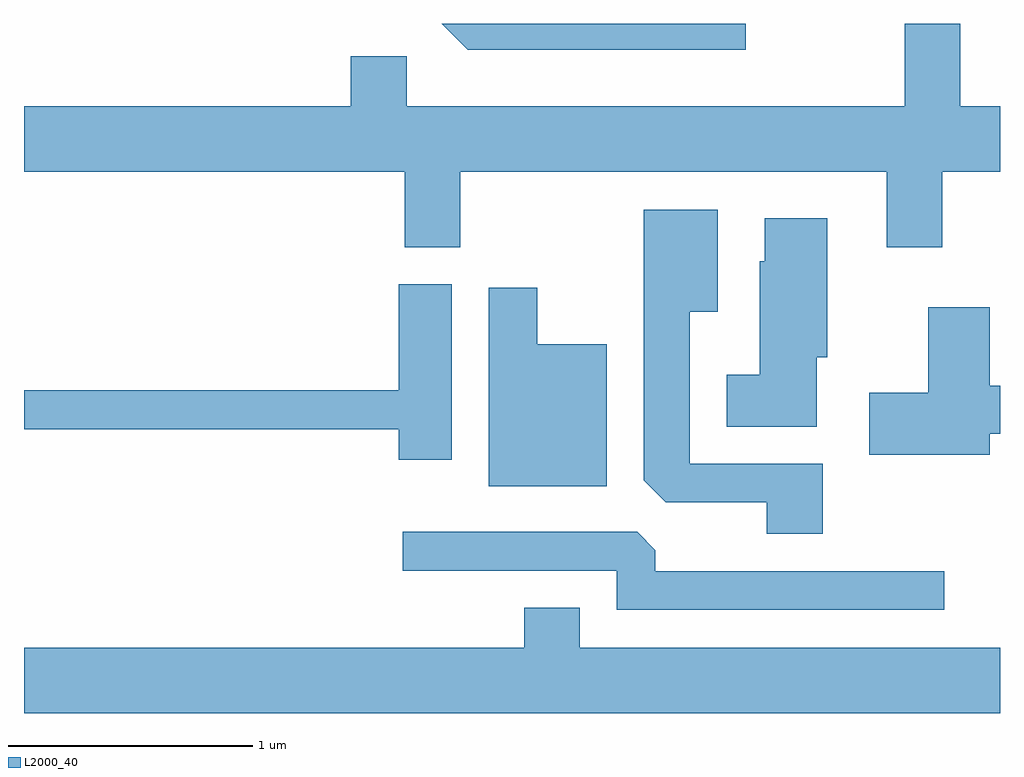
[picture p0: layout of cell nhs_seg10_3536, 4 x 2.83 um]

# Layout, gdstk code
import gdstk
lib = gdstk.Library(unit=1e-6, precision=1e-09)
def P(c, l, *ps):  # polygons
    for p in ps: c.add(gdstk.Polygon(p, *l))
L2000_40 = (2000, 40)

nhs_seg10_3536 = lib.new_cell('nhs_seg10_3536')
P(nhs_seg10_3536, L2000_40, [(291.399,2113.916),(293.146,2113.916),(293.146,2113.606),(293.374,2113.606),(293.374,2113.916),(293.611,2113.916),(293.611,2114.184),(293.449,2114.184),(293.449,2114.522),(293.221,2114.522),(293.221,2114.184),(291.179,2114.184),(291.179,2114.389),(290.951,2114.389),(290.951,2114.184),(289.611,2114.184),(289.611,2113.916),(291.171,2113.916),(291.171,2113.606),(291.399,2113.606)],
  [(292.568,2114.522),(291.323,2114.522),(291.429,2114.416),(292.568,2114.416)],
  [(292.884,2112.719),(292.339,2112.719),(292.339,2113.341),(292.454,2113.341),(292.454,2113.759),(292.151,2113.759),(292.151,2112.652),(292.242,2112.561),(292.656,2112.561),(292.656,2112.431),(292.884,2112.431)],
  [(292.859,2113.156),(292.904,2113.156),(292.904,2113.724),(292.646,2113.724),(292.646,2113.549),(292.626,2113.549),(292.626,2113.084),(292.491,2113.084),(292.491,2112.871),(292.859,2112.871)],
  [(291.364,2113.454),(291.146,2113.454),(291.146,2113.019),(289.611,2113.019),(289.611,2112.861),(291.146,2112.861),(291.146,2112.736),(291.364,2112.736)],
  [(291.999,2113.209),(291.714,2113.209),(291.714,2113.439),(291.516,2113.439),(291.516,2112.626),(291.999,2112.626)],
  [(293.569,2112.841),(293.611,2112.841),(293.611,2113.039),(293.569,2113.039),(293.569,2113.359),(293.316,2113.359),(293.316,2113.009),(293.076,2113.009),(293.076,2112.756),(293.569,2112.756)],
  [(293.383,2112.279),(292.199,2112.279),(292.199,2112.364),(292.124,2112.439),(291.163,2112.439),(291.163,2112.281),(292.041,2112.281),(292.041,2112.121),(293.383,2112.121)],
  [(293.611,2111.964),(291.889,2111.964),(291.889,2112.129),(291.661,2112.129),(291.661,2111.964),(289.611,2111.964),(289.611,2111.696),(293.611,2111.696)])

lib.write_gds('nhs_seg10_3536.gds')
